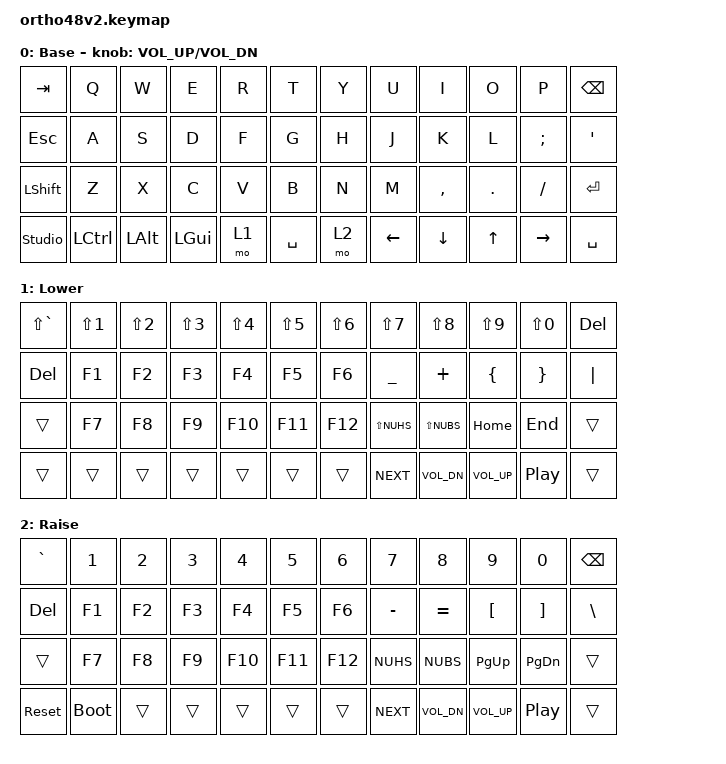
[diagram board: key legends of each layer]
// This file was generated from a template. Edit it to match your keyboard.
// See https://zmk.dev/docs/development/hardware-integration/new-shield for more instructions.

#include <behaviors.dtsi>
#include <dt-bindings/zmk/keys.h>

/ {
    // Define a default keymap here.
    // See https://zmk.dev/docs/development/hardware-integration/new-shield#default-keymap.
    keymap {
        compatible = "zmk,keymap";

        default_layer {
            /* Base
             * ,-----------------------------------------------------------------------------------.
             * | Tab  |   Q  |   W  |   E  |   R  |   T  |   Y  |   U  |   I  |   O  |   P  | Bksp |
             * |------+------+------+------+------+-------------+------+------+------+------+------|
             * | Esc  |   A  |   S  |   D  |   F  |   G  |   H  |   J  |   K  |   L  |   ;  |  "   |
             * |------+------+------+------+------+------|------+------+------+------+------+------|
             * | Shift|   Z  |   X  |   C  |   V  |   B  |   N  |   M  |   ,  |   .  |   /  |Enter |
             * |------+------+------+------+------+------+------+------+------+------+------+------|
             * | Brite| Ctrl | Alt  | GUI  |Lower |    Space    |Raise | Left | Down |  Up  |Right |
             * `-----------------------------------------------------------------------------------'
             */
            display-name = "Base";
            bindings = <
                &kp TAB  &kp Q    &kp W &kp E &kp R &kp T  &kp Y   &kp U  &kp I    &kp O   &kp P    &kp BSPC
                &kp ESC  &kp A    &kp S &kp D &kp F &kp G  &kp H   &kp J  &kp K    &kp L   &kp SEMI &kp SQT
                &kp LSHFT &kp Z    &kp X &kp C &kp V &kp B  &kp N   &kp M  &kp COMMA &kp DOT &kp SLASH &kp RET
                &studio_unlock &kp LCTRL &kp LALT &kp LGUI &mo 1 &kp SPACE &mo 2 &kp LEFT &kp DOWN &kp UP &kp RIGHT &kp SPACE
            >;
            sensor-bindings = <&inc_dec_kp C_VOL_UP C_VOL_DN>;
        };

        lower {
            /* Lower
             * ,-----------------------------------------------------------------------------------.
             * |   ~  |   !  |   @  |   #  |   $  |   %  |   ^  |   &  |   *  |   (  |   )  |  Del |
             * |------+------+------+------+------+-------------+------+------+------+------+------|
             * | Del  |  F1  |  F2  |  F3  |  F4  |  F5  |  F6  |   _  |   +  |   {  |   }  |  |   |
             * |------+------+------+------+------+------|------+------+------+------+------+------|
             * |      |  F7  |  F8  |  F9  |  F10 |  F11 |  F12 |ISO ~ |ISO | | Home | End  |      |
             * |------+------+------+------+------+------+------+------+------+------+------+------|
             * |      |      |      |      |      |             |      | Next | Vol- | Vol+ | Play |
             * `-----------------------------------------------------------------------------------'
             */
            display-name = "Lower";
            bindings = <
                &kp LS(GRAVE) &kp LS(N1) &kp LS(N2) &kp LS(N3) &kp LS(N4) &kp LS(N5) &kp LS(N6) &kp LS(N7) &kp LS(N8) &kp LS(N9) &kp LS(N0) &kp DEL
                &kp DEL &kp F1 &kp F2 &kp F3 &kp F4 &kp F5 &kp F6 &kp UNDER &kp PLUS &kp LBRC &kp RBRC &kp PIPE
                &trans &kp F7 &kp F8 &kp F9 &kp F10 &kp F11 &kp F12 &kp LS(NUHS) &kp LS(NUBS) &kp HOME &kp END &trans
                &trans &trans &trans &trans &trans &trans &trans &kp C_NEXT &kp C_VOL_DN &kp C_VOL_UP &kp C_PP &trans
            >;
        };

        raise {
            /* Raise
             * ,-----------------------------------------------------------------------------------.
             * |   `  |   1  |   2  |   3  |   4  |   5  |   6  |   7  |   8  |   9  |   0  | Bksp |
             * |------+------+------+------+------+-------------+------+------+------+------+------|
             * | Del  |  F1  |  F2  |  F3  |  F4  |  F5  |  F6  |   -  |   =  |   [  |   ]  |  \   |
             * |------+------+------+------+------+------|------+------+------+------+------+------|
             * |      |  F7  |  F8  |  F9  |  F10 |  F11 |  F12 |ISO # |ISO / |Pg Up |Pg Dn |      |
             * |------+------+------+------+------+------+------+------+------+------+------+------|
             * |      |      |      |      |      |             |      | Next | Vol- | Vol+ | Play |
             * `-----------------------------------------------------------------------------------'
             */
            display-name = "Raise";
            bindings = <
                &kp GRAVE &kp N1 &kp N2 &kp N3 &kp N4 &kp N5 &kp N6 &kp N7 &kp N8 &kp N9 &kp N0 &kp BSPC
                &kp DEL &kp F1 &kp F2 &kp F3 &kp F4 &kp F5 &kp F6 &kp MINUS &kp EQUAL &kp LBKT &kp RBKT &kp BSLH
                &trans &kp F7 &kp F8 &kp F9 &kp F10 &kp F11 &kp F12 &kp NUHS &kp NUBS &kp PG_UP &kp PG_DN &trans
                &sys_reset &bootloader &trans &trans &trans &trans &trans &kp C_NEXT &kp C_VOL_DN &kp C_VOL_UP &kp C_PP &trans
            >;
        };
    };
};
